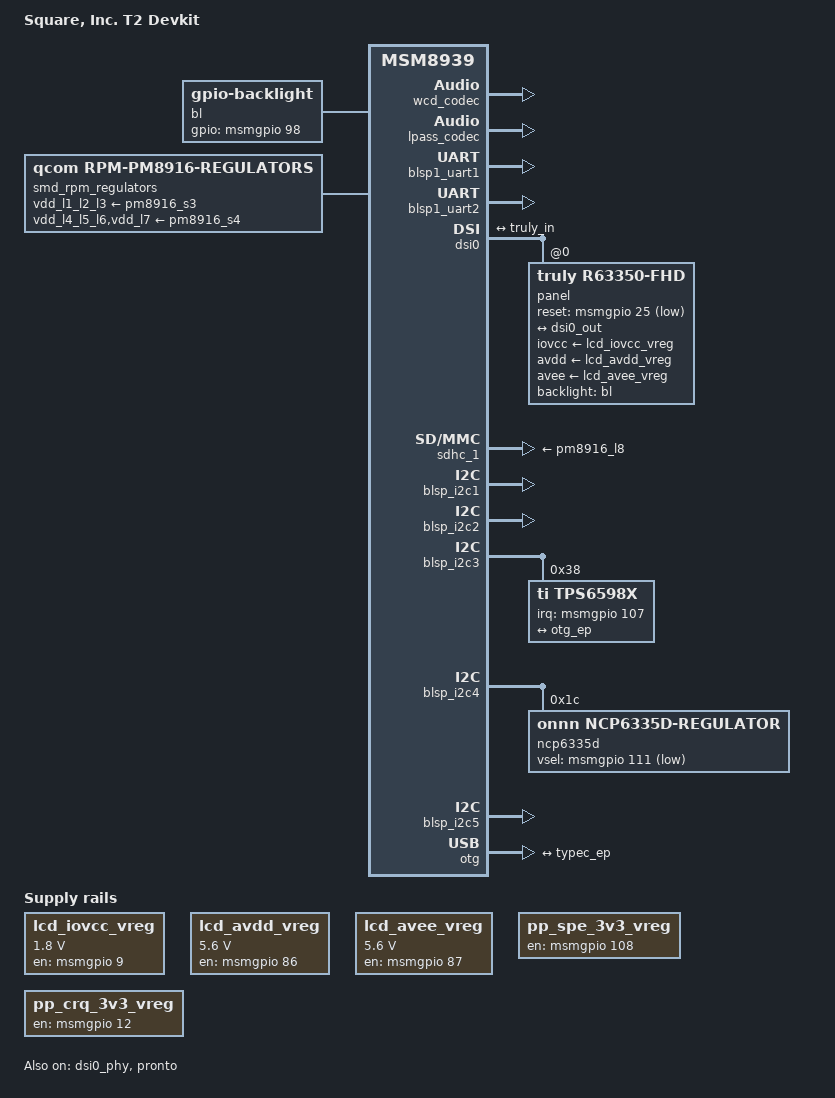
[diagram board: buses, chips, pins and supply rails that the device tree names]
/*
 * Copyright (c) 2015, The Linux Foundation. All rights reserved.
 *
 * This program is free software; you can redistribute it and/or modify
 * it under the terms of the GNU General Public License version 2 and
 * only version 2 as published by the Free Software Foundation.
 *
 * This program is distributed in the hope that it will be useful,
 * but WITHOUT ANY WARRANTY; without even the implied warranty of
 * MERCHANTABILITY or FITNESS FOR A PARTICULAR PURPOSE.  See the
 * GNU General Public License for more details.
 */

/dts-v1/;

#include "msm8939.dtsi"
#include "pm8916.dtsi"
#include "apq8039-t2-pinctl.dtsi"
#include <dt-bindings/sound/apq8016-lpass.h>

/ {
	model = "Square, Inc. T2 Devkit";
	qcom,board-id = <0x53 0x54>;

	aliases {
		serial0 = &blsp1_uart1;
		serial1 = &blsp1_uart2;
	};

	chosen {
		stdout-path = "serial1:115200n8";
	};

	lcd_iovcc_vreg: lcd-iovcc-vreg {
		compatible = "regulator-fixed";
		regulator-name = "lcd_iovcc";
		regulator-min-microvolt = <1800000>;
		regulator-max-microvolt = <1800000>;
		pinctrl-names = "default";
		pinctrl-0 = <&pinctrl_lcd_iovcc>;
		gpios = <&msmgpio 9 GPIO_ACTIVE_HIGH>;
		startup-delay-us = <300>;
		enable-active-high;
	};

	lcd_avdd_vreg: lcd-avdd-vreg {
		compatible = "regulator-fixed";
		regulator-name = "lcd_avdd";
		regulator-min-microvolt = <5600000>;
		regulator-max-microvolt = <5600000>;
		pinctrl-names = "default";
		pinctrl-0 = <&pinctrl_lcd_avdd>;
		gpios = <&msmgpio 86 GPIO_ACTIVE_HIGH>;
		startup-delay-us = <300>;
		enable-active-high;
	};

	lcd_avee_vreg: lcd-avee-vreg {
		compatible = "regulator-fixed";
		regulator-name = "lcd_avee";
		regulator-min-microvolt = <5600000>;
		regulator-max-microvolt = <5600000>;
		pinctrl-names = "default";
		pinctrl-0 = <&pinctrl_lcd_avee>;
		gpios = <&msmgpio 87 GPIO_ACTIVE_HIGH>;
		startup-delay-us = <300>;
		enable-active-high;
	};

	bl: backlight {
		compatible = "gpio-backlight";
		pinctrl-names = "default";
		pinctrl-0 = <&pinctrl_backlight>;
		gpios = <&msmgpio 98 GPIO_ACTIVE_HIGH>;
	};

	pp_spe_3v3_vreg: pp_spe_3v3_vreg {
		compatible = "regulator-fixed";
		pinctrl-names = "default";
		pinctrl-0 = <&msmgpio_spe_reg>;
		regulator-name = "pp_spe_3v3";
		gpios = <&msmgpio 108 GPIO_ACTIVE_HIGH>;
		startup-delay-us = <0>;
		enable-active-high;
	};

	pp_crq_3v3_vreg: pp_crq_3v3_vreg {
		compatible = "regulator-fixed";
		pinctrl-names = "default";
		pinctrl-0 = <&msmgpio_crq_reg>;
		regulator-name = "pp_crq_3v3";
		gpios = <&msmgpio 12 GPIO_ACTIVE_HIGH>;
		startup-delay-us = <0>;
		enable-active-high;
	};

	soc {
		/delete-node/ sound@7702000;
                sound: sound {
                        compatible = "qcom,apq8039-sndcard";
                        reg = <0x07702000 0x4>, <0x07702004 0x4>;
                        reg-names = "mic-iomux", "spkr-iomux";

                        status = "okay";
                        pinctrl-0 = <&cdc_pdm_lines_act>;
                        pinctrl-1 = <&cdc_pdm_lines_sus>;
                        pinctrl-names = "default", "sleep";
                        qcom,model = "T2";
                        qcom,audio-routing = "AMIC2", "MIC BIAS Internal2";

                        internal-codec-playback-dai-link-0 {
                                link-name = "WCD";
                                cpu {
                                        sound-dai = <&lpass MI2S_PRIMARY>;
                                };
                                codec {
                                        sound-dai = <&lpass_codec 0>, <&wcd_codec 0>;
                                };
                        };

                        internal-codec-capture-dai-link-0 {
                                link-name = "WCD-Capture";
                                cpu {
                                        sound-dai = <&lpass MI2S_TERTIARY>;
                                };
                                codec {
                                        sound-dai = <&lpass_codec 1>, <&wcd_codec 1>;
                                };
                        };

			function-definition {

				mixer-control = "Jack Function";
				function-list = <&auto &headphones &headset &speaker &off>;
				system-list = <&auto &off &off>;	// default, init, shutdown

				auto: Automatic {
					// Headphone presence bit 0 (1) - H
					// Microphone presence bit 1 (2) - M
					state-inputs         = "JACK_HEADPHONE", "JACK_MICROPHONE";
					state-input-bits     = <1>, <1>;
					state-input-defaults = <0>, <0>;

					// HM & MASK
					state-map =
						<&speaker    0x1 0x0>,	// no headphone -> speaker
						<&headphones 0x3 0x1>, 	// headphone but no mic -> headphones
						<&headset    0x3 0x3>;	// headphone & mic -> headset
				};
				headphones: Headphones {
					enable  = "RX1 MIX1 INP1", "RX1",
						  "RX2 MIX1 INP1", "RX2",
						  "RDAC2 MUX", "RX2",
						  "RX1 Digital Volume", "128",
						  "RX2 Digital Volume", "128",
						  "HPHL", "Switch",
						  "HPHR", "Switch";

					disable = "RX1 Digital Volume", "0",
						  "RX2 Digital Volume", "0",
						  "HPHL", "ZERO",
						  "HPHR", "ZERO",
						  "RDAC2 MUX", "RX1",
						  "RX1 MIX1 INP1", "ZERO",
						  "RX2 MIX1 INP1", "ZERO";
				};
				headset: Headset {
					enable  = "RX1 MIX1 INP1", "RX1",
						  "RX2 MIX1 INP1", "RX2",
						  "RDAC2 MUX", "RX2",
						  "RX1 Digital Volume", "128",
						  "RX2 Digital Volume", "128",
						  "DEC1 MUX", "ADC2",
						  "CIC1 MUX", "AMIC",
						  "ADC2 Volume", "8",
						  "ADC2 MUX", "INP2",
						  "HPHL", "Switch",
						  "HPHR", "Switch";

					disable = "RX1 Digital Volume", "0",
						  "RX2 Digital Volume", "0",
						  "HPHL", "ZERO",
						  "HPHR", "ZERO",
						  "RDAC2 MUX", "RX1",
						  "RX1 MIX1 INP1", "ZERO",
						  "RX2 MIX1 INP1", "ZERO",
						  "ADC2 MUX", "ZERO",
						  "ADC2 Volume", "0",
						  "DEC1 MUX", "ZERO";
				};
				speaker: Speaker {
					enable  = "SPK DAC Switch", "1",
						  "RX3 MIX1 INP1", "RX1",
						  "RX3 MIX1 INP2", "RX2",
						  "RX3 Digital Volume", "128";

					disable = "SPK DAC Switch", "0",
						  "RX3 MIX1 INP1", "ZERO",
						  "RX3 MIX1 INP2", "ZERO";
				};
				off: Off {
					enable  = "RX1 Digital Volume", "0",
						  "RX2 Digital Volume", "0",
						  "HPHL", "ZERO",
						  "HPHR", "ZERO",
						  "RDAC2 MUX", "RX1",
						  "RX1 MIX1 INP1", "ZERO",
						  "RX2 MIX1 INP1", "ZERO",
						  "ADC2 MUX", "ZERO",
						  "ADC2 Volume", "0",
						  "DEC1 MUX", "ZERO",
						  "SPK DAC Switch", "0",
						  "RX3 MIX1 INP1", "ZERO",
						  "RX3 MIX1 INP2", "ZERO";
				};
			};
                };

		lpass@7708000 {
			status = "okay";
		};
	};
};

&wcd_codec {
	status = "okay";
	qcom,hphl-jack-type-normally-open;
	qcom,mbhc-vthreshold-low = <75 150 237 450 500>;
	qcom,mbhc-vthreshold-high = <75 150 237 450 500>;
};

&lpass_codec {
	status = "okay";
};

&blsp1_uart1 {
	pinctrl-names = "default", "sleep";
	pinctrl-0 = <&blsp1_uart1_default>;
	pinctrl-1 = <&blsp1_uart1_sleep>;
	status = "okay";
};

&blsp1_uart2 {
	pinctrl-names = "default", "sleep";
	pinctrl-0 = <&blsp1_uart2_default>;
	pinctrl-1 = <&blsp1_uart2_sleep>;
	status = "okay";
};

&dsi0 {
	#address-cells = <1>;
	#size-cells = <0>;
	vdda-supply = <&pm8916_l2>;
	vddio-supply = <&pm8916_l6>;
	status = "okay";

	ports {
		port@1 {
			endpoint {
				remote-endpoint = <&truly_in>;
				data-lanes = <0 1 2 3>;
			};
		};
	};

	panel@0 {
		compatible = "truly,r63350-fhd";
		reg = <0>;
		pinctrl-names = "default";
		pinctrl-0 = <&pinctrl_panel>;
		iovcc-supply = <&lcd_iovcc_vreg>;
		avdd-supply = <&lcd_avdd_vreg>;
		avee-supply = <&lcd_avee_vreg>;
		reset-gpios = <&msmgpio 25 GPIO_ACTIVE_LOW>;
		backlight = <&bl>;

		ports {
			#address-cells = <1>;
			#size-cells = <0>;

			port@0 {
				reg = <0>;
				truly_in: endpoint {
					remote-endpoint = <&dsi0_out>;
				};
			};
		};
	};
};

&dsi0_phy {
	vddio-supply = <&pm8916_l6>;
	status = "okay";
};

&sdhc_1 {
	vmmc-supply = <&pm8916_l8>;
	vqmmc-supply = <&pm8916_l5>;

	pinctrl-names = "default", "sleep";
	pinctrl-0 = <&sdc1_clk_on &sdc1_cmd_on &sdc1_data_on>;
	pinctrl-1 = <&sdc1_clk_off &sdc1_cmd_off &sdc1_data_off>;
	status = "okay";
};

&blsp_i2c1 {
	status = "okay";
};

&blsp_i2c2 {
	status = "okay";
};

&blsp_i2c3 {
	status = "okay";
	tps6598x: tps6598x@38 {
		compatible = "ti,tps6598x";
		reg = <0x38>;

		interrupt-parent = <&msmgpio>;
		interrupts = <107 IRQ_TYPE_LEVEL_LOW>;
		interrupt-names = "irq";

		pinctrl-names = "default";
		pinctrl-0 = <&typec_pins>;

		typec_con: connector {
			compatible = "usb-c-connector";
			label = "USB-C";
			port {
				typec_ep: endpoint {
					remote-endpoint = <&otg_ep>;
				};
			};
		};
	};
};

&blsp_i2c4 {
	status = "okay";

	ncp6335d: ncp6335d-regulator@1c {
		compatible = "onnn,ncp6335d-regulator";
		reg = <0x1c>;
		onnn,vsel = <0>;
		onnn,slew-ns = <3333>;
		onnn,step-size = <6250>;
		onnn,min-slew-ns = <416>;
		onnn,max-slew-ns = <3333>;
		regulator-min-microvolt = <1050000>;
		regulator-max-microvolt = <1350000>;
		onnn,min-setpoint = <600000>;
		pintrl-names = "default";
		pinctrl-0 = <&ext_buck_vsel>;
		onnn,vsel-gpio = <&msmgpio 111 1>;
		onnn,discharge-enable;
		onnn,restore-reg;
		onnn,set-en-always;
		onnn,register-corruption-workaround;
		regulator-always-on;
	};
};

&blsp_i2c5 {
	status = "okay";
};

&blsp_dma {
	status = "okay";
};

&rpm_requests {
	smd_rpm_regulators: pm8916-regulators {
		compatible = "qcom,rpm-pm8916-regulators";
		vdd_l1_l2_l3-supply = <&pm8916_s3>;
		vdd_l4_l5_l6-supply = <&pm8916_s4>;
		vdd_l7-supply = <&pm8916_s4>;

		/* s1 s2 and l3 are based on power domain model */

		pm8916_s3: s3 {
			regulator-min-microvolt = <1200000>;
			regulator-max-microvolt = <1300000>;
		};

		pm8916_s4: s4 {
			regulator-min-microvolt = <1800000>;
			regulator-max-microvolt = <2100000>;
		};

		/* l1 is fixed to 1225000, but not connected in schematic */

		pm8916_l2: l2 {
			regulator-min-microvolt = <1200000>;
			regulator-max-microvolt = <1200000>;
		};

		pm8916_l4: l4 {
			regulator-min-microvolt = <2050000>;
			regulator-max-microvolt = <2050000>;
		};

		pm8916_l5: l5 {
			regulator-min-microvolt = <1800000>;
			regulator-max-microvolt = <1800000>;
		};

		pm8916_l6: l6 {
			regulator-min-microvolt = <1800000>;
			regulator-max-microvolt = <1800000>;
			regulator-always-on; /* copy from v3.10 */
		};

		pm8916_l7: l7 {
			regulator-min-microvolt = <1800000>;
			regulator-max-microvolt = <1800000>;
		};

		pm8916_l8: l8 {
			regulator-min-microvolt = <2850000>;
			regulator-max-microvolt = <2900000>;
		};

		pm8916_l9: l9 {
			regulator-min-microvolt = <3300000>;
			regulator-max-microvolt = <3300000>;
		};

		pm8916_l10: l10 {
			regulator-min-microvolt = <3300000>;
			regulator-max-microvolt = <3300000>;
		};

		pm8916_l11: l11 {
			regulator-min-microvolt = <1800000>;
			regulator-max-microvolt = <2950000>;
		};

		pm8916_l12: l12 {
			regulator-min-microvolt = <1800000>;
			regulator-max-microvolt = <2950000>;
		};

		pm8916_l13: l13 {
			regulator-min-microvolt = <3075000>;
			regulator-max-microvolt = <3075000>;
		};

		pm8916_l14: l14 {
			regulator-min-microvolt = <1800000>;
			regulator-max-microvolt = <3300000>;
		};

		pm8916_l15: l15 {
			regulator-min-microvolt = <1800000>;
			regulator-max-microvolt = <3300000>;
		};

		/* v3.10 set l16 as l15, but not connected on schematic */

		pm8916_l17: l17 {
			regulator-min-microvolt = <2850000>;
			regulator-max-microvolt = <2850000>;
		};

		pm8916_l18: l18 {
			regulator-min-microvolt = <2700000>;
			regulator-max-microvolt = <2700000>;
		};
	};
};

&otg {
	status = "okay";
	usb-role-switch;

	pinctrl-names = "default", "host", "device";
	pinctrl-0 = <&pinctrl_otg_default>;
	pinctrl-1 = <&pinctrl_otg_host>;
	pinctrl-2 = <&pinctrl_otg_device>;
	pin-switch-delay-us = <100000>;

	ulpi {
		usb_hs_phy: phy {
			qcom,enable-vbus-pullup;
			v1p8-supply = <&pm8916_l7>;
			v3p3-supply = <&pm8916_l13>;
		};
	};
	port {
		otg_ep: endpoint {
			remote-endpoint = <&typec_ep>;
		};
	};
};

&cpr {
	vdd-apc-supply = <&ncp6335d>;
};

&pronto {
	pinctrl-names = "default";
	pinctrl-0 = <&wcnss_pin_a &wcnss_pin_antennae>;
	status = "okay";

	iris {
		compatible = "qcom,wcn3680";
	};

	smd-edge {
		wcnss {
			bt {
				local-bd-address = [ 55 44 33 22 11 00 ];
			};
		};
	};
};

&rpm_requests {
	smd_rpm_regulators: pm8916-regulators {
		compatible = "qcom,rpm-pm8916-regulators";
		vdd_l1_l2_l3-supply = <&pm8916_s3>;
		vdd_l4_l5_l6-supply = <&pm8916_s4>;
		vdd_l7-supply = <&pm8916_s4>;

		pm8916_s3: s3 {
			regulator-min-microvolt = <1200000>;
			regulator-max-microvolt = <1300000>;
		};

		pm8916_s4: s4 {
			regulator-min-microvolt = <1800000>;
			regulator-max-microvolt = <2100000>;
		};

		/* l1 is fixed to 1225000, but not connected in schematic */
		pm8916_l2: l2 {
			regulator-min-microvolt = <1200000>;
			regulator-max-microvolt = <1200000>;
		};

		pm8916_l4: l4 {
			regulator-min-microvolt = <2050000>;
			regulator-max-microvolt = <2050000>;
		};

		pm8916_l5: l5 {
			regulator-min-microvolt = <1800000>;
			regulator-max-microvolt = <1800000>;
		};

		pm8916_l6: l6 {
			regulator-min-microvolt = <1800000>;
			regulator-max-microvolt = <1800000>;
			regulator-always-on; /* copy from v3.10 */
		};

		pm8916_l7: l7 {
			regulator-min-microvolt = <1800000>;
			regulator-max-microvolt = <1800000>;
		};

		pm8916_l8: l8 {
			regulator-min-microvolt = <2850000>;
			regulator-max-microvolt = <2900000>;
		};

		pm8916_l9: l9 {
			regulator-min-microvolt = <3300000>;
			regulator-max-microvolt = <3300000>;
		};

		pm8916_l10: l10 {
			regulator-min-microvolt = <3300000>;
			regulator-max-microvolt = <3300000>;
		};

		pm8916_l11: l11 {
			regulator-min-microvolt = <1800000>;
			regulator-max-microvolt = <2950000>;
		};

		pm8916_l12: l12 {
			regulator-min-microvolt = <1800000>;
			regulator-max-microvolt = <2950000>;
		};

		pm8916_l13: l13 {
			regulator-min-microvolt = <3075000>;
			regulator-max-microvolt = <3075000>;
		};

		pm8916_l14: l14 {
			regulator-min-microvolt = <1800000>;
			regulator-max-microvolt = <3300000>;
		};

		pm8916_l15: l15 {
			regulator-min-microvolt = <1800000>;
			regulator-max-microvolt = <3300000>;
		};

		pm8916_l16: l16 {
			regulator-min-microvolt = <1800000>;
			regulator-max-microvolt = <3300000>;
		};

		pm8916_l17: l17 {
			regulator-min-microvolt = <2850000>;
			regulator-max-microvolt = <2850000>;
		};

		pm8916_l18: l18 {
			regulator-min-microvolt = <2700000>;
			regulator-max-microvolt = <2700000>;
		};
	};
};
